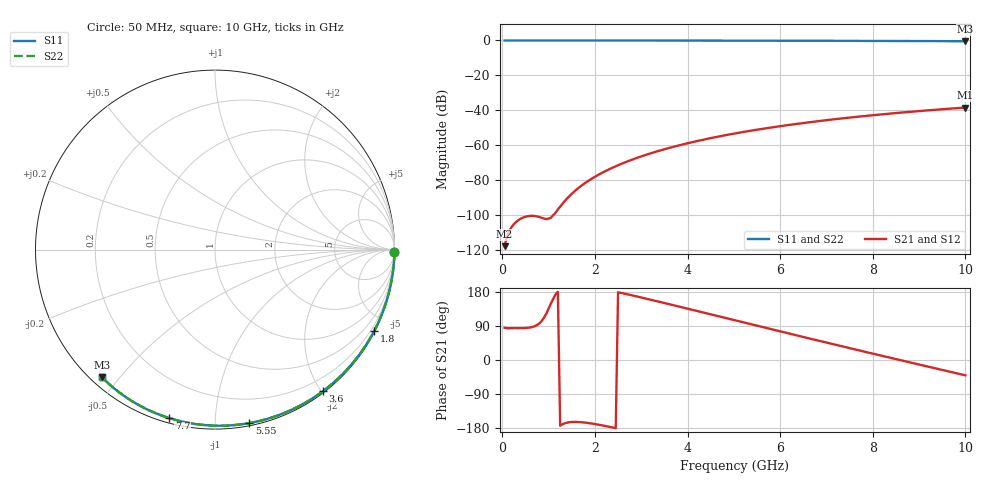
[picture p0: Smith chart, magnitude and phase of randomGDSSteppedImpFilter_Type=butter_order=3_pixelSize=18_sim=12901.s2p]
! freq	dB(S11)	phase(S11)	dB(S12)	phase(S12)
!  dB(S21)	phase(S21)	dB(S22)	phase(S22)
!S-par simulation data
#  GHz  S  DB  R 50
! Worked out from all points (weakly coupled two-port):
!   200 points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, 50 MHz to 10 GHz, reference 50 ohm
!   highest |S21| = -38.39 dB at 10 GHz (marker M1); lowest = -117.7 dB at 50 MHz (marker M2)
!   lowest |S11| = -0.4 dB at 10 GHz (marker M3), VSWR 39.06, Z = 1.54 - j22.5 ohm
!   |S11| at or under -10 dB: nowhere
!   |S22| runs from -0.4 to 0.0 dB; largest |S21 - S12| = 0
!   S11 on the Smith chart (normalised r, x): 50 MHz: open; 1.8 GHz: 0.04, -4.17; 3.6 GHz: 0.02, -2.02; 5.55 GHz: 0.02, -1.22; 7.7 GHz: 0.02, -0.76; 10 GHz: 0.03, -0.45
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0.05  -0.00 -0.8  -117.73 85.1  -117.73 85.1  -0.00 -0.8
0.9  -0.02 -13.6  -101.94 111.7  -101.94 111.7  -0.02 -13.6
1.75  -0.03 -26.2  -82.30 -164.7  -82.30 -164.7  -0.03 -26.2
1.8  -0.03 -27.0  -81.37 -165.4  -81.37 -165.4  -0.03 -27.0
1.85  -0.04 -27.7  -80.48 -166.2  -80.48 -166.2  -0.04 -27.7
1.9  -0.04 -28.4  -79.63 -167.1  -79.63 -167.1  -0.04 -28.4
2.05  -0.04 -30.6  -77.25 -170.1  -77.25 -170.1  -0.04 -30.6
2.25  -0.04 -33.5  -74.45 -174.7  -74.45 -174.7  -0.04 -33.5
2.45  -0.05 -36.4  -71.98 -179.8  -71.98 -179.8  -0.05 -36.4
2.65  -0.05 -39.3  -69.76 174.8  -69.76 174.8  -0.05 -39.3
3  -0.06 -44.3  -66.35 165.0  -66.35 165.0  -0.06 -44.3
3.4  -0.07 -49.9  -63.02 153.3  -63.02 153.3  -0.07 -49.9
3.6  -0.07 -52.7  -61.53 147.4  -61.53 147.4  -0.07 -52.7
4.3  -0.09 -62.3  -57.02 126.5  -57.02 126.5  -0.09 -62.3
5.05  -0.11 -72.3  -53.09 104.0  -53.09 104.0  -0.11 -72.3
5.55  -0.13 -78.8  -50.86 89.0  -50.86 89.0  -0.13 -78.8
6.1  -0.15 -85.7  -48.68 72.6  -48.68 72.6  -0.15 -85.7
6.7  -0.18 -93.2  -46.58 54.8  -46.58 54.8  -0.18 -93.2
7.7  -0.24 -105.2  -43.58 25.5  -43.58 25.5  -0.24 -105.2
8.35  -0.29 -112.8  -41.91 6.7  -41.91 6.7  -0.29 -112.8
9.15  -0.36 -122.0  -40.09 -16.3  -40.09 -16.3  -0.36 -122.0
10  -0.44 -131.6  -38.39 -40.5  -38.39 -40.5  -0.44 -131.6
